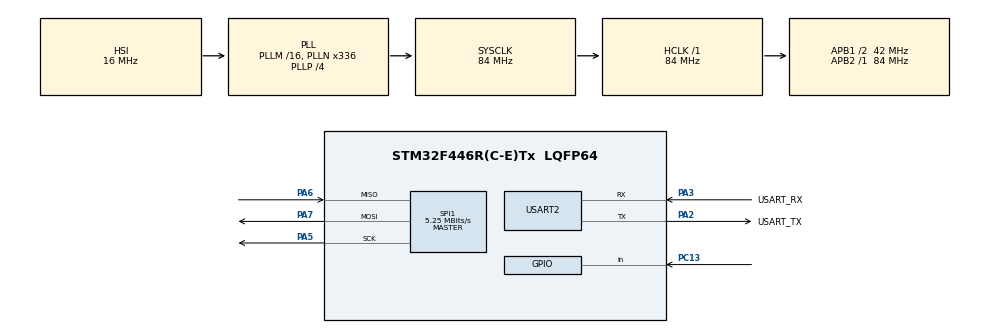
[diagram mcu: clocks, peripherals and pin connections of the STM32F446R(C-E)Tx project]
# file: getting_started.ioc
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Mcu.Family=STM32F4
Mcu.Name=STM32F446R(C-E)Tx
Mcu.Package=LQFP64
NVIC.PriorityGroup=NVIC_PRIORITYGROUP_0
PA13.GPIO_Label=TMS
PA13.Mode=Serial_Wire
PA13.Signal=SYS_JTMS-SWDIO
PA14.GPIO_Label=TCK
PA14.Mode=Serial_Wire
PA14.Signal=SYS_JTCK-SWCLK
PA2.GPIO_Label=USART_TX
PA2.Mode=Asynchronous
PA2.Signal=USART2_TX
PA3.GPIO_Label=USART_RX
PA3.Mode=Asynchronous
PA3.Signal=USART2_RX
PA5.Mode=Full_Duplex_Master
PA5.Signal=SPI1_SCK
PA6.Mode=Full_Duplex_Master
PA6.Signal=SPI1_MISO
PA7.Mode=Full_Duplex_Master
PA7.Signal=SPI1_MOSI
PB3.GPIO_Label=SWO
PB3.Signal=SYS_JTDO-SWO
PC13.GPIO_Mode=GPIO_MODE_INPUT
PC13.Signal=GPIO_Input
PC14-OSC32_IN.Mode=LSE-External-Oscillator
PC14-OSC32_IN.Signal=RCC_OSC32_IN
PC15-OSC32_OUT.Mode=LSE-External-Oscillator
PC15-OSC32_OUT.Signal=RCC_OSC32_OUT
PH0-OSC_IN.Mode=HSE-External-Oscillator
PH0-OSC_IN.Signal=RCC_OSC_IN
PH1-OSC_OUT.Mode=HSE-External-Oscillator
PH1-OSC_OUT.Signal=RCC_OSC_OUT
ProjectManager.HeapSize=0x200
ProjectManager.StackSize=0x400
ProjectManager.TargetToolchain=STM32CubeIDE
RCC.48MHZClocksFreq_Value=84000000
RCC.AHBFreq_Value=84000000
RCC.APB1CLKDivider=RCC_HCLK_DIV2
RCC.APB1Freq_Value=42000000
RCC.APB1TimFreq_Value=84000000
RCC.APB2Freq_Value=84000000
RCC.APB2TimFreq_Value=84000000
RCC.CortexFreq_Value=84000000
RCC.FLatency-AdvancedSettings=FLASH_LATENCY_2
RCC.HCLKFreq_Value=84000000
RCC.HSE_VALUE=8000000
RCC.HSI_VALUE=16000000
RCC.PLLN=336
RCC.PLLP=RCC_PLLP_DIV4
RCC.SYSCLKFreq_VALUE=84000000
RCC.SYSCLKSource=RCC_SYSCLKSOURCE_PLLCLK
RCC.USBFreq_Value=168000000
RCC.VCOOutputFreq_Value=336000000
SPI1.BaudRatePrescaler=SPI_BAUDRATEPRESCALER_16
SPI1.CalculateBaudRate=5.25 MBits/s
SPI1.Direction=SPI_DIRECTION_2LINES
SPI1.Mode=SPI_MODE_MASTER
SPI1.VirtualType=VM_MASTER
USART2.VirtualMode=VM_ASYNC
board=NUCLEO-F446RE

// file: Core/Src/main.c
/* USER CODE BEGIN Header */
/**
  ******************************************************************************
  * @file           : main.c
  * @brief          : Main program body
  ******************************************************************************
  * @attention
  *
  * Copyright (c) 2025 STMicroelectronics.
  * All rights reserved.
  *
  * This software is licensed under terms that can be found in the LICENSE file
  * in the root directory of this software component.
  * If no LICENSE file comes with this software, it is provided AS-IS.
  *
  ******************************************************************************
  */
/* USER CODE END Header */
#include "main.h"

SPI_HandleTypeDef hspi1;

UART_HandleTypeDef huart2;

void SystemClock_Config(void);
static void MX_GPIO_Init(void);
static void MX_USART2_UART_Init(void);
static void MX_SPI1_Init(void);
/* USER CODE BEGIN PFP */

//function that takes in the handle type, port type, pin number, potentiometer select, and value and sets the potentiometer to that value
//function example:
//MP41050_Write_Bit(&hspi1, GPIOA, GPIO_PIN_6, 128)
void MP41050_Write_Bit(SPI_HandleTypeDef *hspi,GPIO_TypeDef* csPort, uint16_t csPin, uint8_t value) {
	if(value < 0 || value > 255){ //error checking
			printf("Error(Write_Bit): Value out of range\n");
					return; // Indicate failure
		}
	//format: [XXC1C0 XXXP0] [DDDD DDDD]
	//XX = don't care bits
	//C1C0(command bits): 00, 11 = no command executed, 01 = write data, 10 = put pots in shutdown mode
	//P0(pot select bits): 0 = nothing, 1 = pot 0
	//D...D = new register data,

	//setting the resistance, calculating D_n, implement this with a function later
	//R_WA = (R_AB)(256-D_n)/256 + R_w, R_WB = (R_AB)(D_n)/256 + R_w
	//R_WA = (50k)(256-D_n)/256 + wiper resistance, R_WB = (50k)(D_n)/256 + wiper resistance

	//shutdown mode: disconnects the "A" terminal from the resistor stack and simultaneously connects the wiper to the "B" terminal. During shutdown mode, the content of the wiper register can be changed and the pot return from shutdown to the new value. The wiper is reset to the mid-scale position upon power-up. The reset pin implements a hardware reset and also returns the wiper to mid-scale.
	//The shutdown command allows the user to put the application circuit into power-saving mode. In this mode, the a terminal A is open-circuited and the B and W terminals are shorted together. The command select bits C1C0 are set to 10. The pot selection bits P1P0 allow each pot to be shut down independently. If either P1P0 are high, the respective pot will enter shutdown mode. The data bits following the command byte still need to be transmitted for the shutdown command, but they are don't care bits.

	uint8_t command = 0b00010001;
	uint8_t data[2] = {command, value}; //concatenating bit strings

	//executing any command is accomplished by setting CS low
	//then clocking-in a command byte followed by a data byte into
	//the 16-bit shift reg, the command is executed when CS is raised

	//resets cs low to begin data transfer
	HAL_GPIO_WritePin(csPort, csPin, GPIO_PIN_RESET);

	//sends the 16 bit command
	HAL_SPI_Transmit(hspi, data, 2, HAL_MAX_DELAY);

	//sets cs high to end the data transfer
	HAL_GPIO_WritePin(csPort, csPin, GPIO_PIN_SET);
}

//same as above function but takes in resistance value instead of 0-255
void MP41050_Write_Resistance(SPI_HandleTypeDef *hspi,GPIO_TypeDef* csPort, uint16_t csPin, int res) {
	if(res < 0 || res > 50000){ //error checking
			printf("Error(Write_Resistance): Resistance out of range\n");
					return; // Indicate failure
		}

	uint8_t command = 0b00010001;
	uint8_t data[2] = {command, resistanceToBit(res)};

	HAL_GPIO_WritePin(csPort, csPin, GPIO_PIN_RESET);

	HAL_SPI_Transmit(hspi, data, 2, HAL_MAX_DELAY);

	HAL_GPIO_WritePin(csPort, csPin, GPIO_PIN_SET);
}

//function that takes in desired potentiometer value and returns the 0-255 value that corresponds for use with the MP41510 function
uint8_t resistanceToBit(int res){
	if(res < 0 || res > 50000){ //error checking
		printf("Error(resToBit): Resistance out of range\n");
				return 0xFF; // Indicate failure
	}

	return (uint8_t)((res * 255 + 25000) / 50000); //the 25000 is added so that the truncation actually rounds

}

//function that puts the pots in shutdown mode when not being used
//in shutdown mode, the wiper gets shorted to ground, this saves power for when they are not being used
//to wake up, just call the write functions
void MP41050_Shutdown(SPI_HandleTypeDef *hspi, GPIO_TypeDef* csPort, uint16_t csPin){
	uint8_t command = 0b00100001; //command says enter shutdown mode
	uint8_t data[2] = {command, 0b00000000}; //still need to send don't care bits

	HAL_GPIO_WritePin(csPort, csPin, GPIO_PIN_RESET);

	HAL_SPI_Transmit(hspi, data, 2, HAL_MAX_DELAY);

	HAL_GPIO_WritePin(csPort, csPin, GPIO_PIN_SET);
}

/* USER CODE END PFP */

int main(void)
{

  /* MCU Configuration--------------------------------------------------------*/

  /* Reset of all peripherals, Initializes the Flash interface and the Systick. */
  HAL_Init();

  /* Configure the system clock */
  SystemClock_Config();

  /* Initialize all configured peripherals */
  MX_GPIO_Init();
  MX_USART2_UART_Init();
  MX_SPI1_Init();

  /* Infinite loop */
  /* USER CODE BEGIN WHILE */
  while (1)
  {
	  /* Example code to light up the led on board
	  HAL_GPIO_WritePin(GPIOA, GPIO_PIN_5, GPIO_PIN_SET);//LED On
	  HAL_Delay(1000); //delay 1 sec
	  HAL_GPIO_WritePin(GPIOA, GPIO_PIN_5, GPIO_PIN_RESET);//LED On
	  HAL_Delay(1000); //delay 1 sec
	  */

	  //beginning MCP41050 resistor control code

    /* USER CODE END WHILE */

  }
}

void SystemClock_Config(void)
{
  RCC_OscInitTypeDef RCC_OscInitStruct = {0};
  RCC_ClkInitTypeDef RCC_ClkInitStruct = {0};

  /** Configure the main internal regulator output voltage
  */
  __HAL_RCC_PWR_CLK_ENABLE();
  __HAL_PWR_VOLTAGESCALING_CONFIG(PWR_REGULATOR_VOLTAGE_SCALE3);

  /** Initializes the RCC Oscillators according to the specified parameters
  * in the RCC_OscInitTypeDef structure.
  */
  RCC_OscInitStruct.OscillatorType = RCC_OSCILLATORTYPE_HSI;
  RCC_OscInitStruct.HSIState = RCC_HSI_ON;
  RCC_OscInitStruct.HSICalibrationValue = RCC_HSICALIBRATION_DEFAULT;
  RCC_OscInitStruct.PLL.PLLState = RCC_PLL_ON;
  RCC_OscInitStruct.PLL.PLLSource = RCC_PLLSOURCE_HSI;
  RCC_OscInitStruct.PLL.PLLM = 16;
  RCC_OscInitStruct.PLL.PLLN = 336;
  RCC_OscInitStruct.PLL.PLLP = RCC_PLLP_DIV4;
  RCC_OscInitStruct.PLL.PLLQ = 2;
  RCC_OscInitStruct.PLL.PLLR = 2;
  if (HAL_RCC_OscConfig(&RCC_OscInitStruct) != HAL_OK)
  {
    Error_Handler();
  }

  /** Initializes the CPU, AHB and APB buses clocks
  */
  RCC_ClkInitStruct.ClockType = RCC_CLOCKTYPE_HCLK|RCC_CLOCKTYPE_SYSCLK
                              |RCC_CLOCKTYPE_PCLK1|RCC_CLOCKTYPE_PCLK2;
  RCC_ClkInitStruct.SYSCLKSource = RCC_SYSCLKSOURCE_PLLCLK;
  RCC_ClkInitStruct.AHBCLKDivider = RCC_SYSCLK_DIV1;
  RCC_ClkInitStruct.APB1CLKDivider = RCC_HCLK_DIV2;
  RCC_ClkInitStruct.APB2CLKDivider = RCC_HCLK_DIV1;

  if (HAL_RCC_ClockConfig(&RCC_ClkInitStruct, FLASH_LATENCY_2) != HAL_OK)
  {
    Error_Handler();
  }
}

static void MX_SPI1_Init(void)
{

  /* SPI1 parameter configuration*/
  hspi1.Instance = SPI1;
  hspi1.Init.Mode = SPI_MODE_MASTER;
  hspi1.Init.Direction = SPI_DIRECTION_2LINES;
  hspi1.Init.DataSize = SPI_DATASIZE_8BIT;
  hspi1.Init.CLKPolarity = SPI_POLARITY_LOW;
  hspi1.Init.CLKPhase = SPI_PHASE_1EDGE;
  hspi1.Init.NSS = SPI_NSS_SOFT;
  hspi1.Init.BaudRatePrescaler = SPI_BAUDRATEPRESCALER_16;
  hspi1.Init.FirstBit = SPI_FIRSTBIT_MSB;
  hspi1.Init.TIMode = SPI_TIMODE_DISABLE;
  hspi1.Init.CRCCalculation = SPI_CRCCALCULATION_DISABLE;
  hspi1.Init.CRCPolynomial = 10;
  if (HAL_SPI_Init(&hspi1) != HAL_OK)
  {
    Error_Handler();
  }

}

static void MX_USART2_UART_Init(void)
{

  huart2.Instance = USART2;
  huart2.Init.BaudRate = 115200;
  huart2.Init.WordLength = UART_WORDLENGTH_8B;
  huart2.Init.StopBits = UART_STOPBITS_1;
  huart2.Init.Parity = UART_PARITY_NONE;
  huart2.Init.Mode = UART_MODE_TX_RX;
  huart2.Init.HwFlowCtl = UART_HWCONTROL_NONE;
  huart2.Init.OverSampling = UART_OVERSAMPLING_16;
  if (HAL_UART_Init(&huart2) != HAL_OK)
  {
    Error_Handler();
  }

}

static void MX_GPIO_Init(void)
{
  GPIO_InitTypeDef GPIO_InitStruct = {0};

  /* GPIO Ports Clock Enable */
  __HAL_RCC_GPIOC_CLK_ENABLE();
  __HAL_RCC_GPIOH_CLK_ENABLE();
  __HAL_RCC_GPIOA_CLK_ENABLE();
  __HAL_RCC_GPIOB_CLK_ENABLE();

  /*Configure GPIO pin : PC13 */
  GPIO_InitStruct.Pin = GPIO_PIN_13;
  GPIO_InitStruct.Mode = GPIO_MODE_INPUT;
  GPIO_InitStruct.Pull = GPIO_NOPULL;
  HAL_GPIO_Init(GPIOC, &GPIO_InitStruct);

}

void Error_Handler(void)
{
  __disable_irq();
  while (1)
  {
  }
}
